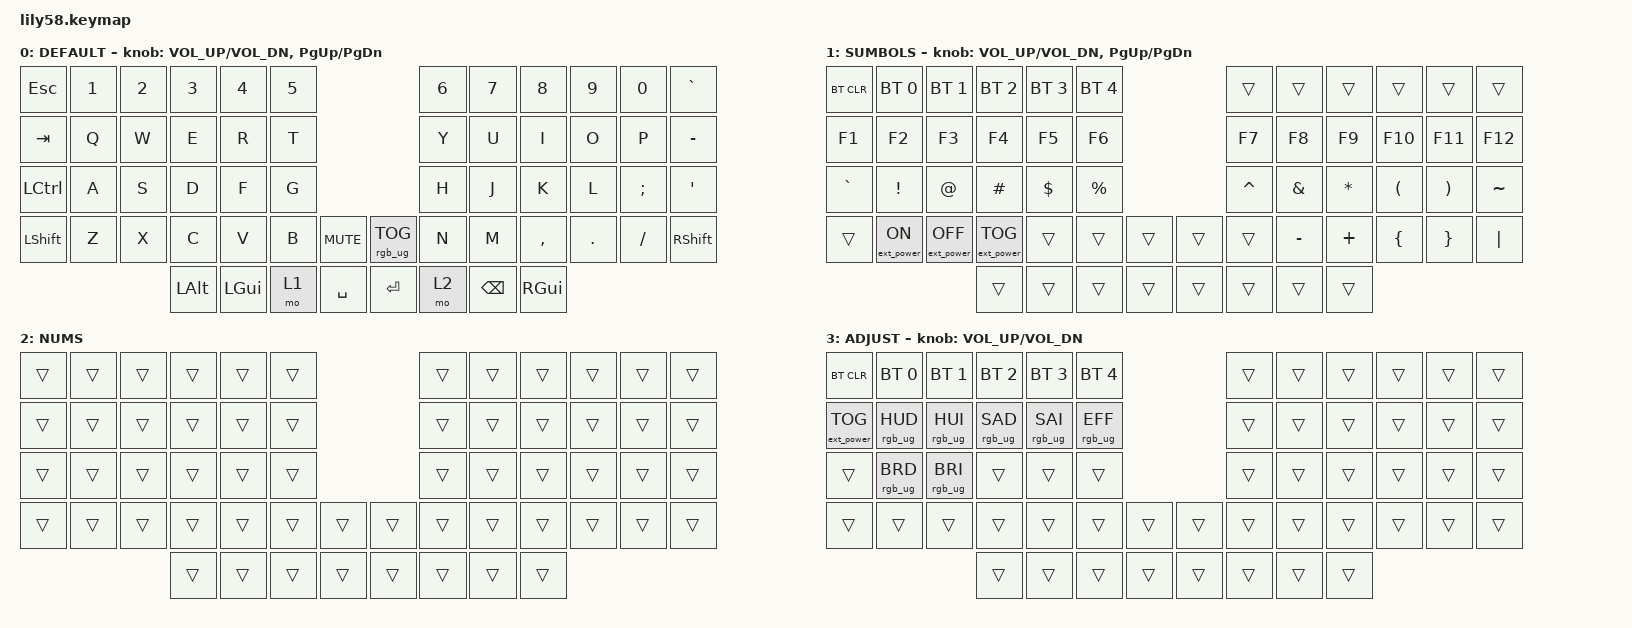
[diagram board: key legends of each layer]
/*
 * Copyright (c) 2020 The ZMK Contributors
 *
 * SPDX-License-Identifier: MIT
 */

#include <behaviors.dtsi>
#include <dt-bindings/zmk/bt.h>
#include <dt-bindings/zmk/ext_power.h>
#include <dt-bindings/zmk/keys.h>
#include <dt-bindings/zmk/rgb.h>

/ {
    // Activate ADJUST layer by pressing raise and lower

    conditional_layers {
        compatible = "zmk,conditional-layers";

        adjust_layer {
            if-layers = <1 2>;
            then-layer = <3>;
        };
    };

    keymap {
        compatible = "zmk,keymap";

        DEFAULT {
            display-name = "DEFAULT";

            // ------------------------------------------------------------------------------------------------------------
            // |  ESC  |  1  |  2  |  3   |  4   |  5   |                   |  6   |  7    |  8    |  9   |   0   |   `   |
            // |  TAB  |  Q  |  W  |  E   |  R   |  T   |                   |  Y   |  U    |  I    |  O   |   P   |   -   |
            // |  CTRL |  A  |  S  |  D   |  F   |  G   |                   |  H   |  J    |  K    |  L   |   ;   |   '   |
            // | SHIFT |  Z  |  X  |  C   |  V   |  B   |  MUTE  |  |RGB_TOG|  N   |  M    |  ,    |  .   |   /   | SHIFT |
            //                     | ALT  | GUI  | LOWER|  SPACE |  | ENTER | RAISE| BSPC  | GUI   |

            bindings = <
&kp ESC    &kp N1  &kp N2  &kp N3    &kp N4    &kp N5                                 &kp N6  &kp N7    &kp N8     &kp N9   &kp N0    &kp GRAVE
&kp TAB    &kp Q   &kp W   &kp E     &kp R     &kp T                                  &kp Y   &kp U     &kp I      &kp O    &kp P     &kp MINUS
&kp LCTRL  &kp A   &kp S   &kp D     &kp F     &kp G                                  &kp H   &kp J     &kp K      &kp L    &kp SEMI  &kp SQT
&kp LSHFT  &kp Z   &kp X   &kp C     &kp V     &kp B   &kp C_MUTE    &rgb_ug RGB_TOG  &kp N   &kp M     &kp COMMA  &kp DOT  &kp FSLH  &kp RSHFT
                           &kp LALT  &kp LGUI  &mo 1   &kp SPACE     &kp RET          &mo 2   &kp BSPC  &kp RGUI
            >;

            sensor-bindings = <&inc_dec_kp C_VOL_UP C_VOL_DN &inc_dec_kp PG_UP PG_DN>;
        };

        SYMBOLS {
            display-name = "SUMBOLS";

            // ------------------------------------------------------------------------------------------------------------
            // | BTCLR | BT1 | BT2 |  BT3 |  BT4 |  BT5 |                   |      |       |       |      |       |       |
            // |  F1   |  F2 |  F3 |  F4  |  F5  |  F6  |                   |  F7  |  F8   |  F9   |  F10 |  F11  |  F12  |
            // |   `   |  !  |  @  |  #   |  $   |  %   |                   |  ^   |  &    |  *    |  (   |   )   |   ~   |
            // |EXTPWR |     |     |      |      |      |        |  |       |      |  _    |  +    |  {   |   }   |  "|"  |
            //                     |      |      |      |        |  |       |      |       |       |

            bindings = <
&bt BT_CLR  &bt BT_SEL 0      &bt BT_SEL 1       &bt BT_SEL 2       &bt BT_SEL 3  &bt BT_SEL 4                    &trans     &trans     &trans     &trans    &trans    &trans
&kp F1      &kp F2            &kp F3             &kp F4             &kp F5        &kp F6                          &kp F7     &kp F8     &kp F9     &kp F10   &kp F11   &kp F12
&kp GRAVE   &kp EXCL          &kp AT             &kp HASH           &kp DOLLAR    &kp PRCNT                       &kp CARET  &kp AMPS   &kp ASTRK  &kp LPAR  &kp RPAR  &kp TILDE
&trans      &ext_power EP_ON  &ext_power EP_OFF  &ext_power EP_TOG  &trans        &trans        &trans    &trans  &trans     &kp MINUS  &kp PLUS   &kp LBRC  &kp RBRC  &kp PIPE
                                                 &trans             &trans        &trans        &trans    &trans  &trans     &trans     &trans
            >;

            sensor-bindings = <&inc_dec_kp C_VOL_UP C_VOL_DN &inc_dec_kp PG_UP PG_DN>;
        };

        NUMS {
            display-name = "NUMS";
            bindings = <
&trans  &trans  &trans  &trans  &trans  &trans                    &trans  &trans  &trans  &trans  &trans  &trans
&trans  &trans  &trans  &trans  &trans  &trans                    &trans  &trans  &trans  &trans  &trans  &trans
&trans  &trans  &trans  &trans  &trans  &trans                    &trans  &trans  &trans  &trans  &trans  &trans
&trans  &trans  &trans  &trans  &trans  &trans  &trans    &trans  &trans  &trans  &trans  &trans  &trans  &trans
                        &trans  &trans  &trans  &trans    &trans  &trans  &trans  &trans
            >;
        };

        ADJUST {
            display-name = "ADJUST";

            // ----------------------------------------------------------------------------------------------------------------------------
            // | BTCLR  |  BT1    |  BT2    |   BT3   |   BT4   |   BT5   |                  |      |      |       |      |       |       |
            // | EXTPWR | RGB_HUD | RGB_HUI | RGB_SAD | RGB_SAI | RGB_EFF |                  |      |      |       |      |       |       |
            // |        | RGB_BRD | RGB_BRI |         |         |         |                  |      |      |       |      |       |       |
            // |        |         |         |         |         |         | RGB_TOG | |      |      |      |       |      |       |       |
            //                    |         |         |         |         |         | |      |      |      |       |      |

            bindings = <
&bt BT_CLR         &bt BT_SEL 0     &bt BT_SEL 1     &bt BT_SEL 2     &bt BT_SEL 3     &bt BT_SEL 4                       &trans  &trans  &trans  &trans  &trans  &trans
&ext_power EP_TOG  &rgb_ug RGB_HUD  &rgb_ug RGB_HUI  &rgb_ug RGB_SAD  &rgb_ug RGB_SAI  &rgb_ug RGB_EFF                    &trans  &trans  &trans  &trans  &trans  &trans
&trans             &rgb_ug RGB_BRD  &rgb_ug RGB_BRI  &trans           &trans           &trans                             &trans  &trans  &trans  &trans  &trans  &trans
&trans             &trans           &trans           &trans           &trans           &trans           &trans    &trans  &trans  &trans  &trans  &trans  &trans  &trans
                                                     &trans           &trans           &trans           &trans    &trans  &trans  &trans  &trans
            >;

            sensor-bindings = <&inc_dec_kp C_VOL_UP C_VOL_DN>;
        };
    };
};

&led_strip { chain-length = <36>; };
